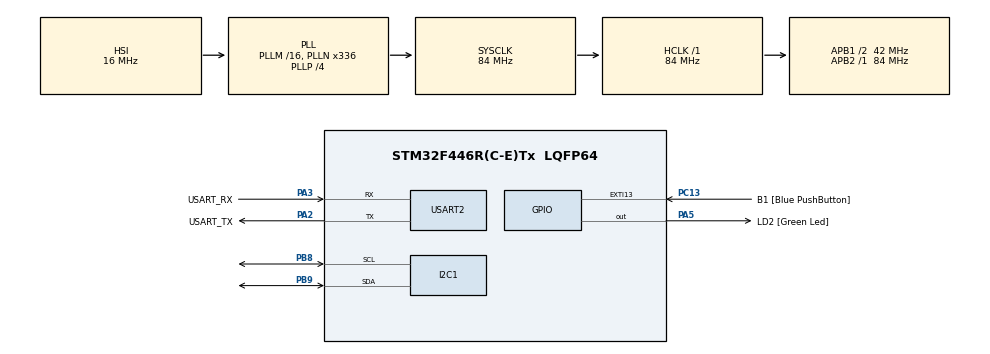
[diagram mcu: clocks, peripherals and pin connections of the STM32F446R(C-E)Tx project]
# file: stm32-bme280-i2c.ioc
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Mcu.Family=STM32F4
Mcu.Name=STM32F446R(C-E)Tx
Mcu.Package=LQFP64
NVIC.EXTI15_10_IRQn=true\:0\:0\:false\:false\:true\:true\:true\:true
NVIC.PriorityGroup=NVIC_PRIORITYGROUP_0
NVIC.USART2_IRQn=true\:0\:0\:false\:false\:true\:true\:true\:true
PA13.GPIO_Label=TMS
PA13.Mode=Serial_Wire
PA13.Signal=SYS_JTMS-SWDIO
PA14.GPIO_Label=TCK
PA14.Mode=Serial_Wire
PA14.Signal=SYS_JTCK-SWCLK
PA2.GPIO_Label=USART_TX
PA2.Mode=Asynchronous
PA2.Signal=USART2_TX
PA3.GPIO_Label=USART_RX
PA3.Mode=Asynchronous
PA3.Signal=USART2_RX
PA5.GPIO_Label=LD2 [Green Led]
PA5.Signal=GPIO_Output
PB3.GPIO_Label=SWO
PB3.Signal=SYS_JTDO-SWO
PB8.GPIO_Pu=GPIO_PULLUP
PB8.Mode=I2C
PB8.Signal=I2C1_SCL
PB9.GPIO_Pu=GPIO_PULLUP
PB9.Mode=I2C
PB9.Signal=I2C1_SDA
PC13.GPIO_Label=B1 [Blue PushButton]
PC13.GPIO_ModeDefaultEXTI=GPIO_MODE_IT_FALLING
PC13.Signal=GPXTI13
PC14-OSC32_IN.Mode=LSE-External-Oscillator
PC14-OSC32_IN.Signal=RCC_OSC32_IN
PC15-OSC32_OUT.Mode=LSE-External-Oscillator
PC15-OSC32_OUT.Signal=RCC_OSC32_OUT
PH0-OSC_IN.Mode=HSE-External-Oscillator
PH0-OSC_IN.Signal=RCC_OSC_IN
PH1-OSC_OUT.Mode=HSE-External-Oscillator
PH1-OSC_OUT.Signal=RCC_OSC_OUT
ProjectManager.HeapSize=0x200
ProjectManager.StackSize=0x400
ProjectManager.TargetToolchain=STM32CubeIDE
RCC.48MHZClocksFreq_Value=84000000
RCC.AHBFreq_Value=84000000
RCC.APB1CLKDivider=RCC_HCLK_DIV2
RCC.APB1Freq_Value=42000000
RCC.APB1TimFreq_Value=84000000
RCC.APB2Freq_Value=84000000
RCC.APB2TimFreq_Value=84000000
RCC.CortexFreq_Value=84000000
RCC.FLatency-AdvancedSettings=FLASH_LATENCY_2
RCC.HCLKFreq_Value=84000000
RCC.HSE_VALUE=8000000
RCC.HSI_VALUE=16000000
RCC.PLLN=336
RCC.PLLP=RCC_PLLP_DIV4
RCC.SYSCLKFreq_VALUE=84000000
RCC.SYSCLKSource=RCC_SYSCLKSOURCE_PLLCLK
RCC.USBFreq_Value=168000000
RCC.VCOOutputFreq_Value=336000000
USART2.VirtualMode=VM_ASYNC
board=NUCLEO-F446RE

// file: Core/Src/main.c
/* USER CODE BEGIN Header */
/**
  ******************************************************************************
  * @file           : main.c
  * @brief          : Main program body
  ******************************************************************************
  * @attention
  *
  * Copyright (c) 2025 STMicroelectronics.
  * All rights reserved.
  *
  * This software is licensed under terms that can be found in the LICENSE file
  * in the root directory of this software component.
  * If no LICENSE file comes with this software, it is provided AS-IS.
  *
  ******************************************************************************
  */
/* USER CODE END Header */
#include "main.h"

/* USER CODE BEGIN Includes */
#include <stdio.h>
#include <stdlib.h>
#include <string.h>
/* USER CODE END Includes */

/* USER CODE BEGIN PD */
#define BME280_ADDR 0x76
#define CTRL_MEAS_REG 0xF4

// Oversampling settings: How much samples the BME280 take into consideration before calculate the avg the temperature / pressure
#define OSRS_0    	0x00
#define OSRS_1     0x01
#define OSRS_2     0x02

#define MODE_SLEEP      0x00
#define MODE_FORCED     0x01
#define MODE_NORMAL     0x03

#define timeout 10

#define TEMP_MSB_REG 0xFA
#define ID_REG 0xD0

#define CHIP_ID 0x60

#define TRIM_REG 0x88

typedef uint8_t bool_t;
#define TRUE  1
#define FALSE 0

/* USER CODE END PD */

I2C_HandleTypeDef hi2c1;

UART_HandleTypeDef huart2;

void SystemClock_Config(void);
static void MX_GPIO_Init(void);
static void MX_USART2_UART_Init(void);
static void MX_I2C1_Init(void);

/* USER CODE BEGIN 0 */

uint16_t dig_T1;
int16_t  dig_T2, dig_T3;
int32_t rawTemp = 0;
int32_t celcius_x100 = 0;
int32_t t_fine = 0;
char buffer[20];
uint8_t log_enabled = TRUE;

int BME280_Config()
{
	uint8_t writedata = (OSRS_2 << 5) | (OSRS_2 << 2) | MODE_NORMAL;
	uint8_t readdata = 0;
	HAL_I2C_Mem_Write(&hi2c1, BME280_ADDR << 1, CTRL_MEAS_REG, 1, &writedata, 1, timeout);

	HAL_I2C_Mem_Read(&hi2c1, BME280_ADDR << 1, CTRL_MEAS_REG, 1, &readdata, 1, timeout);

	if (readdata != writedata)
	{
		return -1;
	}

	HAL_GPIO_WritePin(GPIOA, GPIO_PIN_5, GPIO_PIN_SET);
	return 0;
}

void Calib_Data_Read()
{
	uint8_t calibData[6];
	HAL_I2C_Mem_Read(&hi2c1, BME280_ADDR << 1, TRIM_REG, 1, calibData, 6, timeout);

	dig_T1 = (uint16_t)((calibData[1] << 8) | calibData[0]);
	dig_T2 = (int16_t)((calibData[3] << 8) | calibData[2]);
	dig_T3 = (int16_t)((calibData[5] << 8) | calibData[4]);
}

int32_t BME280_ReadTemp()
{
	uint8_t chipID;
	uint8_t rawData[3];
	HAL_I2C_Mem_Read(&hi2c1, BME280_ADDR << 1, ID_REG, 1, &chipID, 1, timeout);
	if (chipID == CHIP_ID)
	{
		HAL_I2C_Mem_Read(&hi2c1, BME280_ADDR << 1, TEMP_MSB_REG, 1, rawData, 3, timeout);
		return (rawData[0] << 12) | (rawData[1] << 4) | (rawData[2] >> 4);
	}
	return 0;
}

// Returns temperature in DegC, resolution is 0.01 DegC. Output value of “5123” equals 51.23 DegC.
// t_fine carries fine temperature as global value
int32_t BME280_compensate_T_int32(int32_t adc_T)
{
	int32_t var1, var2, T;
	var1 = ((((adc_T>>3) - ((int32_t)dig_T1<<1))) * ((int32_t)dig_T2)) >> 11;
	var2 = (((((adc_T>>4) - ((int32_t)dig_T1)) * ((adc_T>>4) - ((int32_t)dig_T1))) >> 12) * ((int32_t)dig_T3)) >> 14;
	t_fine = var1 + var2;
	T = (t_fine * 5 + 128) >> 8;
	return T;
}

void HAL_GPIO_EXTI_Callback(uint16_t GPIO_Pin)
{
	if (GPIO_Pin == GPIO_PIN_13)
	{
		log_enabled = !log_enabled;
	}
}
/* USER CODE END 0 */

int main(void)
{

  /* MCU Configuration--------------------------------------------------------*/

  /* Reset of all peripherals, Initializes the Flash interface and the Systick. */
  HAL_Init();

  /* Configure the system clock */
  SystemClock_Config();

  /* Initialize all configured peripherals */
  MX_GPIO_Init();
  MX_USART2_UART_Init();
  MX_I2C1_Init();

  /* Infinite loop */
  /* USER CODE BEGIN WHILE */

  BME280_Config();
  Calib_Data_Read();

  while (1)
  {
	  if (log_enabled)
	  {
		  rawTemp = BME280_ReadTemp();
		  celcius_x100 = BME280_compensate_T_int32(rawTemp);
		  sprintf(buffer, "%ld.%02d\n", celcius_x100 / 100 , abs(celcius_x100 % 100));
		  HAL_UART_Transmit(&huart2,(uint8_t *) buffer, strlen(buffer), HAL_MAX_DELAY);
		  HAL_Delay(100);
	  }
    /* USER CODE END WHILE */

  }
}

void SystemClock_Config(void)
{
  RCC_OscInitTypeDef RCC_OscInitStruct = {0};
  RCC_ClkInitTypeDef RCC_ClkInitStruct = {0};

  /** Configure the main internal regulator output voltage
  */
  __HAL_RCC_PWR_CLK_ENABLE();
  __HAL_PWR_VOLTAGESCALING_CONFIG(PWR_REGULATOR_VOLTAGE_SCALE3);

  /** Initializes the RCC Oscillators according to the specified parameters
  * in the RCC_OscInitTypeDef structure.
  */
  RCC_OscInitStruct.OscillatorType = RCC_OSCILLATORTYPE_HSI;
  RCC_OscInitStruct.HSIState = RCC_HSI_ON;
  RCC_OscInitStruct.HSICalibrationValue = RCC_HSICALIBRATION_DEFAULT;
  RCC_OscInitStruct.PLL.PLLState = RCC_PLL_ON;
  RCC_OscInitStruct.PLL.PLLSource = RCC_PLLSOURCE_HSI;
  RCC_OscInitStruct.PLL.PLLM = 16;
  RCC_OscInitStruct.PLL.PLLN = 336;
  RCC_OscInitStruct.PLL.PLLP = RCC_PLLP_DIV4;
  RCC_OscInitStruct.PLL.PLLQ = 2;
  RCC_OscInitStruct.PLL.PLLR = 2;
  if (HAL_RCC_OscConfig(&RCC_OscInitStruct) != HAL_OK)
  {
    Error_Handler();
  }

  /** Initializes the CPU, AHB and APB buses clocks
  */
  RCC_ClkInitStruct.ClockType = RCC_CLOCKTYPE_HCLK|RCC_CLOCKTYPE_SYSCLK
                              |RCC_CLOCKTYPE_PCLK1|RCC_CLOCKTYPE_PCLK2;
  RCC_ClkInitStruct.SYSCLKSource = RCC_SYSCLKSOURCE_PLLCLK;
  RCC_ClkInitStruct.AHBCLKDivider = RCC_SYSCLK_DIV1;
  RCC_ClkInitStruct.APB1CLKDivider = RCC_HCLK_DIV2;
  RCC_ClkInitStruct.APB2CLKDivider = RCC_HCLK_DIV1;

  if (HAL_RCC_ClockConfig(&RCC_ClkInitStruct, FLASH_LATENCY_2) != HAL_OK)
  {
    Error_Handler();
  }
}

static void MX_I2C1_Init(void)
{

  hi2c1.Instance = I2C1;
  hi2c1.Init.ClockSpeed = 100000;
  hi2c1.Init.DutyCycle = I2C_DUTYCYCLE_2;
  hi2c1.Init.OwnAddress1 = 0;
  hi2c1.Init.AddressingMode = I2C_ADDRESSINGMODE_7BIT;
  hi2c1.Init.DualAddressMode = I2C_DUALADDRESS_DISABLE;
  hi2c1.Init.OwnAddress2 = 0;
  hi2c1.Init.GeneralCallMode = I2C_GENERALCALL_DISABLE;
  hi2c1.Init.NoStretchMode = I2C_NOSTRETCH_DISABLE;
  if (HAL_I2C_Init(&hi2c1) != HAL_OK)
  {
    Error_Handler();
  }

}

static void MX_USART2_UART_Init(void)
{

  huart2.Instance = USART2;
  huart2.Init.BaudRate = 115200;
  huart2.Init.WordLength = UART_WORDLENGTH_8B;
  huart2.Init.StopBits = UART_STOPBITS_1;
  huart2.Init.Parity = UART_PARITY_NONE;
  huart2.Init.Mode = UART_MODE_TX_RX;
  huart2.Init.HwFlowCtl = UART_HWCONTROL_NONE;
  huart2.Init.OverSampling = UART_OVERSAMPLING_16;
  if (HAL_UART_Init(&huart2) != HAL_OK)
  {
    Error_Handler();
  }

}

static void MX_GPIO_Init(void)
{
  GPIO_InitTypeDef GPIO_InitStruct = {0};

  /* GPIO Ports Clock Enable */
  __HAL_RCC_GPIOC_CLK_ENABLE();
  __HAL_RCC_GPIOH_CLK_ENABLE();
  __HAL_RCC_GPIOA_CLK_ENABLE();
  __HAL_RCC_GPIOB_CLK_ENABLE();

  /*Configure GPIO pin Output Level */
  HAL_GPIO_WritePin(LD2_GPIO_Port, LD2_Pin, GPIO_PIN_RESET);

  /*Configure GPIO pin : B1_Pin */
  GPIO_InitStruct.Pin = B1_Pin;
  GPIO_InitStruct.Mode = GPIO_MODE_IT_FALLING;
  GPIO_InitStruct.Pull = GPIO_NOPULL;
  HAL_GPIO_Init(B1_GPIO_Port, &GPIO_InitStruct);

  /*Configure GPIO pin : LD2_Pin */
  GPIO_InitStruct.Pin = LD2_Pin;
  GPIO_InitStruct.Mode = GPIO_MODE_OUTPUT_PP;
  GPIO_InitStruct.Pull = GPIO_NOPULL;
  GPIO_InitStruct.Speed = GPIO_SPEED_FREQ_LOW;
  HAL_GPIO_Init(LD2_GPIO_Port, &GPIO_InitStruct);

  /* EXTI interrupt init*/
  HAL_NVIC_SetPriority(EXTI15_10_IRQn, 0, 0);
  HAL_NVIC_EnableIRQ(EXTI15_10_IRQn);

}

void Error_Handler(void)
{
  __disable_irq();
  while (1)
  {
  }
}
